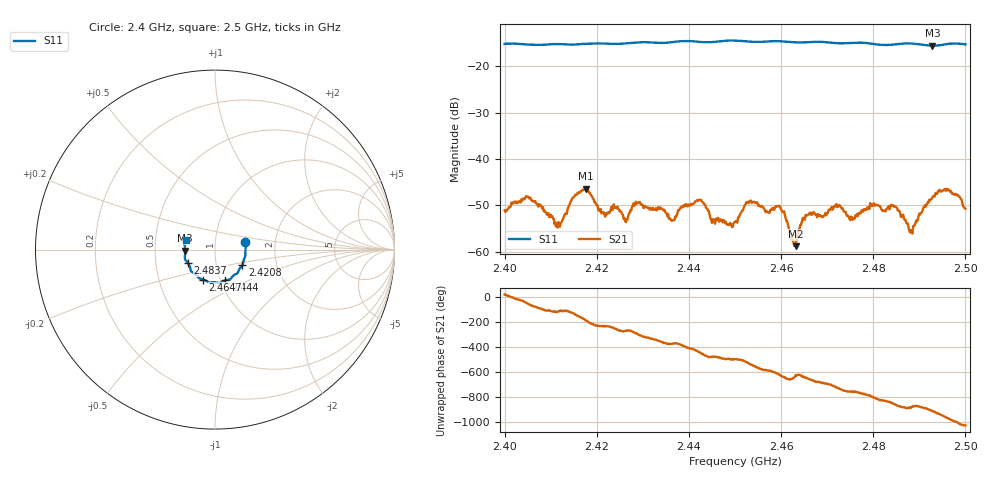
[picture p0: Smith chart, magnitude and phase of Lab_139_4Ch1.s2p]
# Hz S RI R 50
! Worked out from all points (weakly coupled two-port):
!   601 points, 2.4 GHz to 2.5 GHz, reference 50 ohm
!   highest |S21| = -46.41 dB at 2.4177 GHz (marker M1); lowest = -58.8 dB at 2.4632 GHz (marker M2)
!   lowest |S11| = -15.6 dB at 2.4928 GHz (marker M3), VSWR 1.40, Z = 35.8 - j0.377 ohm
!   |S11| at or under -10 dB: start of sweep to end of sweep
!   S12 and S22 are empty: the file has one direction only
!   S11 on the Smith chart (normalised r, x): 2.4 GHz: 1.40, +0.12; 2.4208 GHz: 1.33, -0.24; 2.444 GHz: 1.06, -0.37; 2.4647 GHz: 0.83, -0.29; 2.4837 GHz: 0.73, -0.11; 2.5 GHz: 0.72, +0.08
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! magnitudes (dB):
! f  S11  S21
! 2.4 GHz  -15.2  -51.1
! 2.4052 GHz  -15.4  -48.3
! 2.4117 GHz  -15.3  -53.6
! 2.4167 GHz  -15.3  -46.9
! 2.4177 GHz  -15.2  -46.4
! 2.4208 GHz  -15.1  -50.8
! 2.4333 GHz  -15.0  -50.4
! 2.4363 GHz  -14.9  -53.2
! 2.4418 GHz  -14.7  -48.8
! 2.444 GHz  -14.9  -50.7
! 2.45 GHz  -14.5  -53.6
! 2.453 GHz  -14.7  -49.5
! 2.4593 GHz  -14.6  -50.1
! 2.4632 GHz  -14.9  -58.8
! 2.4647 GHz  -14.9  -52.8
! 2.4667 GHz  -14.8  -52.0
! 2.4833 GHz  -15.5  -50.2
! 2.4837 GHz  -15.4  -50.6
! 2.4882 GHz  -15.1  -55.3
! 2.4928 GHz  -15.6  -48.3
! 2.4963 GHz  -15.2  -46.7
! 2.5 GHz  -15.3  -50.7
